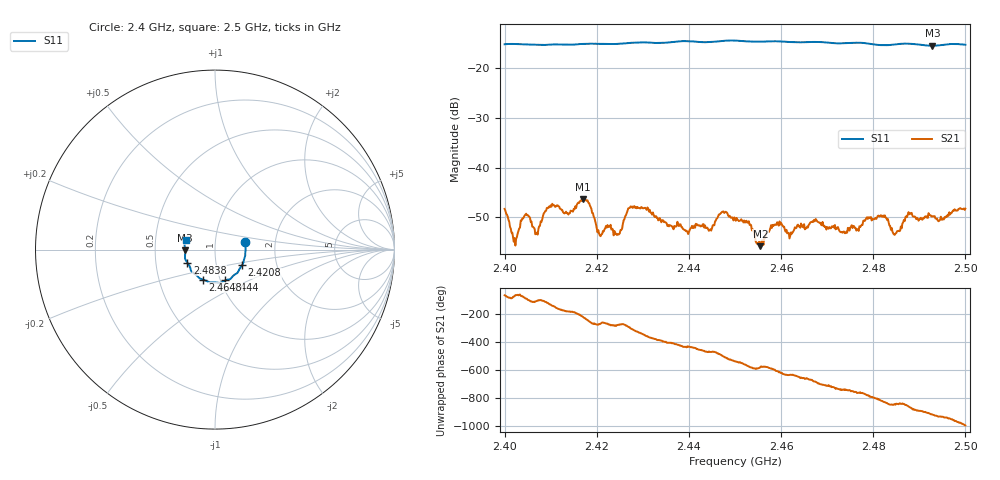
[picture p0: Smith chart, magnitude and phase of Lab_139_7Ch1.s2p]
# Hz S RI R 50
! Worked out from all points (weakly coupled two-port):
!   601 points, 2.4 GHz to 2.5 GHz, reference 50 ohm
!   highest |S21| = -46.30 dB at 2.417 GHz (marker M1); lowest = -55.8 dB at 2.4555 GHz (marker M2)
!   lowest |S11| = -15.6 dB at 2.4928 GHz (marker M3), VSWR 1.40, Z = 35.7 - j0.332 ohm
!   |S11| at or under -10 dB: start of sweep to end of sweep
!   S12 and S22 are empty: the file has one direction only
!   S11 on the Smith chart (normalised r, x): 2.4 GHz: 1.40, +0.12; 2.4208 GHz: 1.33, -0.24; 2.444 GHz: 1.06, -0.37; 2.4648 GHz: 0.83, -0.29; 2.4838 GHz: 0.73, -0.11; 2.5 GHz: 0.72, +0.08
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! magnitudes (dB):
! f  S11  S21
! 2.4 GHz  -15.3  -48.3
! 2.4023 GHz  -15.2  -55.6
! 2.4045 GHz  -15.3  -49.4
! 2.407 GHz  -15.4  -53.0
! 2.4098 GHz  -15.4  -47.9
! 2.4167 GHz  -15.2  -46.5
! 2.417 GHz  -15.2  -46.3
! 2.4208 GHz  -15.2  -53.8
! 2.4248 GHz  -15.2  -53.4
! 2.4277 GHz  -15.0  -47.8
! 2.4333 GHz  -15.0  -50.6
! 2.444 GHz  -14.9  -52.1
! 2.447 GHz  -14.6  -49.1
! 2.45 GHz  -14.5  -50.2
! 2.4555 GHz  -14.8  -55.8
! 2.4587 GHz  -14.7  -51.5
! 2.4648 GHz  -14.9  -52.0
! 2.4667 GHz  -14.8  -50.9
! 2.4833 GHz  -15.4  -51.0
! 2.4838 GHz  -15.4  -52.5
! 2.4928 GHz  -15.6  -49.8
! 2.5 GHz  -15.4  -48.2
